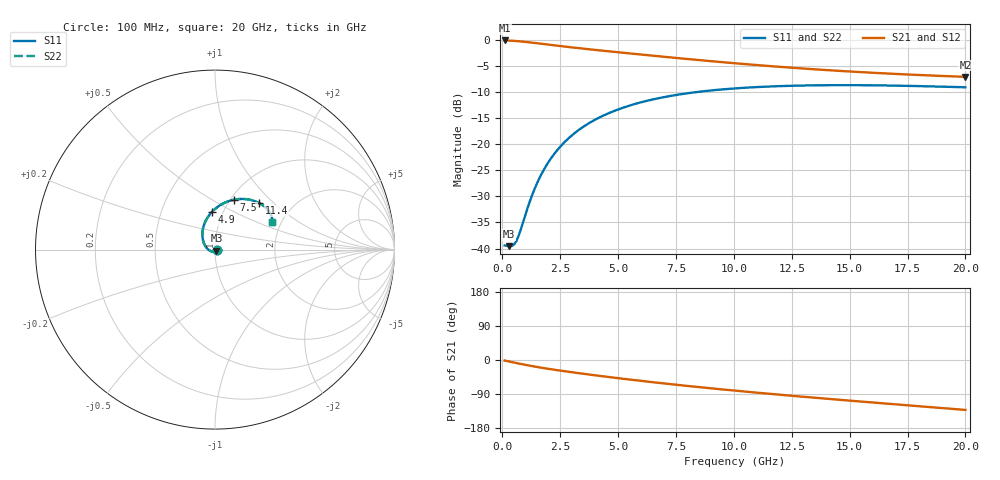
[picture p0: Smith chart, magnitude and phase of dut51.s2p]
! Touchstone file exported from HFSS 2024.1.0
!  File:  C:/UserFiles/LocalFiles/RDL_TSV_Batchsim/temp_RDL_TSV_51_1779406931.aedt
!  Generated:  07:56:19 AM May 22, 2026
!  Design:  RDL_TSV
!  Project:  temp_RDL_TSV_51_1779406931
!  Setup:  Setup1
!  Solution:  Sweep
! Variables:
!  dtsv = 13.99um
!  hbump = 3um
!  htsv = 66.49um
!  ldown = 207.57um
!  lrdl = 235.99um
!  p = 40
!  p1 = 53.81um
!  rhole = 10um
!  subl = 1566.67um
!  t = 450um
!  tdown = 3.48um
!  trdl = 4.23um
!  viad = 10um
!  wdown = 12.16um
!  wrdl = 15.33um
!  xbump = 18um
# GHz S MA R 50.000000
! Terminal data exported
! Port[1] = TM1_1_T1
! Port[2] = TM1_4_T1
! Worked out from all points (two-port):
!   200 points, 100 MHz to 20 GHz, reference 50 ohm
!   highest |S21| = -0.10 dB at 100 MHz (marker M1); lowest = -7.1 dB at 20 GHz (marker M2)
!   |S21| within 3 dB of the highest: start of sweep to 6.678 GHz
!   lowest |S11| = -39.5 dB at 300 MHz (marker M3), VSWR 1.02, Z = 50.8 - j0.695 ohm
!   |S11| at or under -10 dB: start of sweep to 8.382 GHz
!   |S22| runs from -39.5 to -8.7 dB; largest |S21 - S12| = 1.4e-14
!   S11 on the Smith chart (normalised r, x): 100 MHz: 1.02, -0.00; 4.9 GHz: 0.89, +0.39; 7.5 GHz: 1.04, +0.63; 11.4 GHz: 1.37, +0.81; 20 GHz: 1.79, +0.62
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0.1  0.0107 -12.4  0.9888 -1.4  0.9888 -1.4  0.0107 -12.4
! Gamma 0 0 0 0
! Port Impedance 50 0 50 0
0.3  0.01054 -40.4  0.9855 -4.1  0.9855 -4.1  0.01054 -40.4
0.5  0.01089 -74.7  0.9798 -6.7  0.9798 -6.7  0.01089 -74.7
0.6  0.01171 -92.9  0.9762 -8.0  0.9762 -8.0  0.01171 -92.9
0.8  0.01526 -125.7  0.9677 -10.5  0.9677 -10.5  0.01526 -125.7
1.1  0.02477 -159.3  0.9526 -14.0  0.9526 -14.0  0.02477 -159.3
1.3  0.03301 -174.4  0.9415 -16.3  0.9415 -16.3  0.03302 -174.4
1.6  0.04711 168.8  0.9243 -19.4  0.9243 -19.4  0.04712 168.8
1.9  0.06247 156.1  0.9069 -22.4  0.9069 -22.4  0.06248 156.0
2.2  0.07845 145.7  0.89 -25.3  0.89 -25.3  0.07846 145.7
2.6  0.1 134.4  0.8686 -28.9  0.8686 -28.9  0.1001 134.4
3  0.1214 125.1  0.8485 -32.3  0.8485 -32.3  0.1214 125.1
3.5  0.1472 115.2  0.825 -36.4  0.825 -36.4  0.1472 115.2
4.2  0.1809 103.9  0.7945 -41.9  0.7945 -41.9  0.1809 103.9
4.9  0.2115 94.5  0.766 -47.2  0.766 -47.2  0.2115 94.5
6.8  0.2778 75.0  0.6958 -60.6  0.6958 -60.6  0.2779 75.0
7.5  0.2966 69.4  0.6723 -65.3  0.6723 -65.3  0.2966 69.4
10.1  0.3438 53.0  0.5963 -81.1  0.5963 -81.1  0.3439 53.0
11.4  0.3569 46.8  0.5649 -88.5  0.5649 -88.5  0.357 46.8
13.4  0.367 39.2  0.5246 -99.1  0.5246 -99.1  0.3672 39.2
16.7  0.3656 30.4  0.4756 -115.7  0.4756 -115.7  0.3658 30.4
20  0.3516 25.6  0.4429 -131.7  0.4429 -131.7  0.3518 25.6
